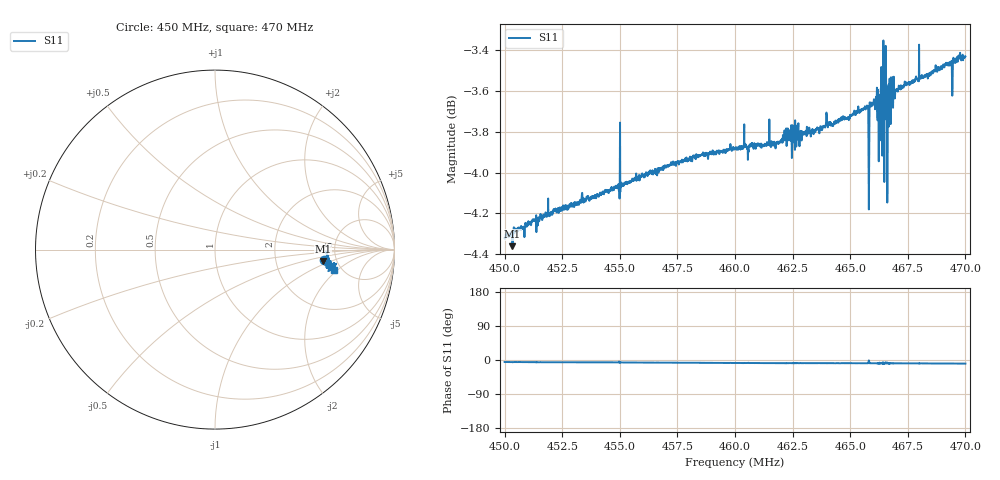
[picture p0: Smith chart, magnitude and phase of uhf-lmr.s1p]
! Calibrated averaged scanner-service zoom
# Hz S RI R 50
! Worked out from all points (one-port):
!   2001 points, 450 MHz to 470 MHz, reference 50 ohm
!   lowest |S11| = -4.4 dB at 450.34 MHz (marker M1), VSWR 4.07, Z = 195 - j39 ohm
!   |S11| at or under -10 dB: nowhere
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4.5e8  0.6053 -0.0562
4.5034e8  0.6019 -0.0634
4.525e8  0.6152 -0.0641
4.5477e8  0.6219 -0.0705
4.5485e8  0.6216 -0.0699
4.5488e8  0.6214 -0.0702
4.55e8  0.6267 -0.0754
4.5509e8  0.6226 -0.0714
4.575e8  0.6295 -0.0789
4.6e8  0.6336 -0.0871
4.625e8  0.6411 -0.0948
4.65e8  0.644 -0.0962
4.6568e8  0.6475 -0.0971
4.6573e8  0.6482 -0.0967
4.6589e8  0.6486 -0.0977
4.6594e8  0.6486 -0.0975
4.6617e8  0.6497 -0.0975
4.6632e8  0.6454 -0.0996
4.6635e8  0.663 -0.095
4.6638e8  0.6553 -0.0877
4.665e8  0.6439 -0.0983
4.6654e8  0.6699 -0.1033
4.6656e8  0.6547 -0.1036
4.6661e8  0.6141 -0.0874
4.6666e8  0.6499 -0.1071
4.668e8  0.6559 -0.1055
4.675e8  0.6559 -0.1018
4.7e8  0.6645 -0.1111
